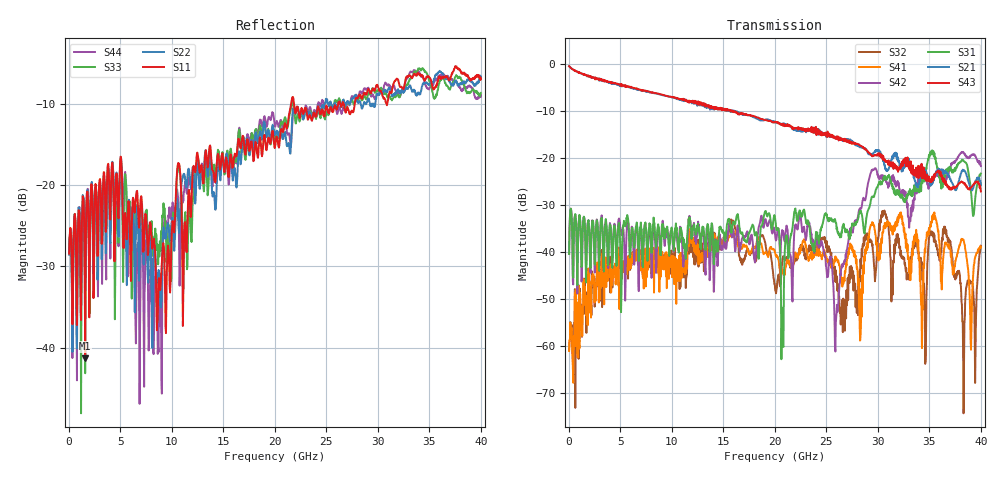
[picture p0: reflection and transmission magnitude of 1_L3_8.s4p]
! 7/15/2021 4:52:12 PM
! C:\USERS\VECTORSTARUSER\DESKTOP\SAMPLE\2021\PD7\18VPD7094DY\1-L3-8.S4P
! CHANNEL.1
! TR.MEASUREMENT
! CORRECTED.DATA
! RF.CORRECTION: FULL.FOUR.PORT.CAL.PORT.1.2.3.4
! AVERAGING.OFF
! IF.BANDWIDTH: 1KHZ
! SWEEPTYPE:  FREQ.SWEEP(Linear)
! Reference Plane Port Info
! PORT:  PORT1  PORT2  PORT3  PORT4
! DISTANCE:  0  m  0  m  0  m  0  m
! TIME:  0  s  0  s  0  s  0  s
! PHASE.OFFSET:  0 °  0 °  0 °  0 °
! LOSS:  0  dB  0  dB  0  dB  0  dB
! REF.LOSS:  0  dB  0  dB  0  dB  0  dB
! REF.FREQ:  0  Hz  0  Hz  0  Hz  0  Hz
! Power Info
! POWER:  -10  dBm  -10  dBm  -10  dBm  -10  dBm
! EFF.POWER:  -10  dBm  -10  dBm  -10  dBm  -10  dBm
# GHZ S RI R 50.0
! FREQ.GHZ  S11RE  S11IM  S12RE  S12IM  S13RE  S13IM  S14RE  S14IM
!  S21RE  S21IM  S22RE  S22IM  S23RE  S23IM  S24RE  S24IM
!  S31RE  S31IM  S32RE  S32IM  S33RE  S33IM  S34RE  S34IM
!  S41RE  S41IM  S42RE  S42IM  S43RE  S43IM  S44RE  S44IM
!; PortSelection: Port_1234
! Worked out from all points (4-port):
!   1000 points, 40 MHz to 40 GHz, reference 50 ohm
!   strongest paths, dB at 40 MHz, 10.04 GHz, 20.04 GHz, 30.04 GHz, 40 GHz:
!     S43: -0.4, -7.0, -12.2, -19.3, -27.0
!     S21: -0.4, -6.9, -12.4, -18.2, -25.6
!     S31: -40.3, -35.3, -32.9, -25.6, -23.2
!     S42: -40.3, -37.0, -36.4, -24.1, -21.6
!     S41: -61.0, -45.3, -40.1, -41.5, -38.9
!     S32: -60.8, -41.0, -48.1, -37.1, -38.6
!   lowest |S11| = -41.3 dB at 1.6 GHz (marker M1), VSWR 1.02, Z = 49.2 + j0.29 ohm
!   |S11| at or under -10 dB: start of sweep to 21.59 GHz; 21.87 GHz to 26.15 GHz (4.287 GHz wide, 17.9 % of centre); 26.66 GHz to 27.76 GHz (1.1 GHz wide, 4.04 % of centre)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
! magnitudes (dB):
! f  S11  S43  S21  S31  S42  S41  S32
! 40 MHz  -28.4  -0.4  -0.4  -40.3  -40.3  -61.0  -60.8
! 1.6 GHz  -41.3  -2.1  -2.2  -36.6  -36.4  -48.9  -52.5
! 20.76 GHz  -13.5  -13.0  -12.6  -52.1  -35.6  -44.0  -41.3
! 22.44 GHz  -11.7  -13.6  -13.7  -31.1  -32.0  -40.3  -39.3
! 25.96 GHz  -10.5  -15.5  -15.4  -33.8  -53.8  -41.1  -45.7
! 29.52 GHz  -8.1  -19.5  -18.9  -28.1  -22.5  -33.7  -39.8
! 40 GHz  -6.9  -27.0  -25.6  -23.2  -21.6  -38.9  -38.6
